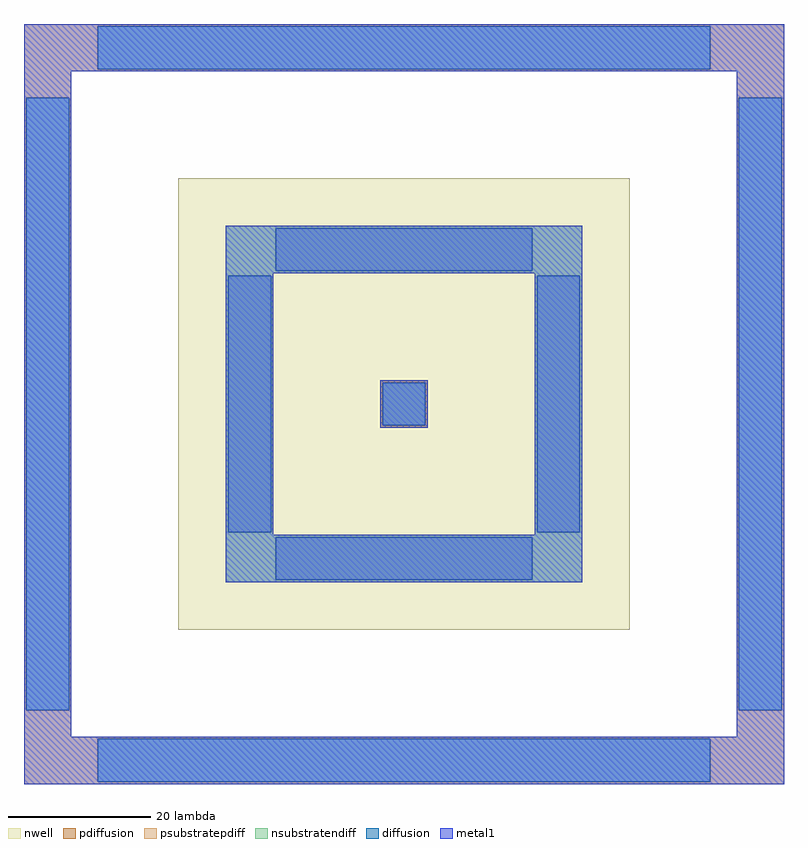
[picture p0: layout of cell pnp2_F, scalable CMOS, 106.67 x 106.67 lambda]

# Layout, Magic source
magic
tech scmos
magscale 1 3
<< nwell >>
rect 110 110 300 300
<< diffusion >>
rect 76 346 334 364
rect 46 76 64 334
rect 151 261 259 279
rect 131 151 149 259
rect 196 196 214 214
rect 261 151 279 259
rect 151 131 259 149
rect 346 76 364 334
rect 76 46 334 64
<< pdiffusion >>
rect 195 214 215 215
rect 195 196 196 214
rect 214 196 215 214
rect 195 195 215 196
<< psubstratepdiff >>
rect 45 364 365 365
rect 45 346 76 364
rect 334 346 365 364
rect 45 345 365 346
rect 45 334 65 345
rect 45 76 46 334
rect 64 76 65 334
rect 345 334 365 345
rect 45 65 65 76
rect 345 76 346 334
rect 364 76 365 334
rect 345 65 365 76
rect 45 64 365 65
rect 45 46 76 64
rect 334 46 365 64
rect 45 45 365 46
<< nsubstratendiff >>
rect 130 279 280 280
rect 130 261 151 279
rect 259 261 280 279
rect 130 260 280 261
rect 130 259 150 260
rect 130 151 131 259
rect 149 151 150 259
rect 260 259 280 260
rect 130 150 150 151
rect 260 151 261 259
rect 279 151 280 259
rect 260 150 280 151
rect 130 149 280 150
rect 130 131 151 149
rect 259 131 280 149
rect 130 130 280 131
<< metal1 >>
rect 45 345 365 365
rect 45 65 65 345
rect 130 260 280 280
rect 130 150 150 260
rect 195 195 215 215
rect 260 150 280 260
rect 130 130 280 150
rect 345 65 365 345
rect 45 45 365 65
<< end >>
